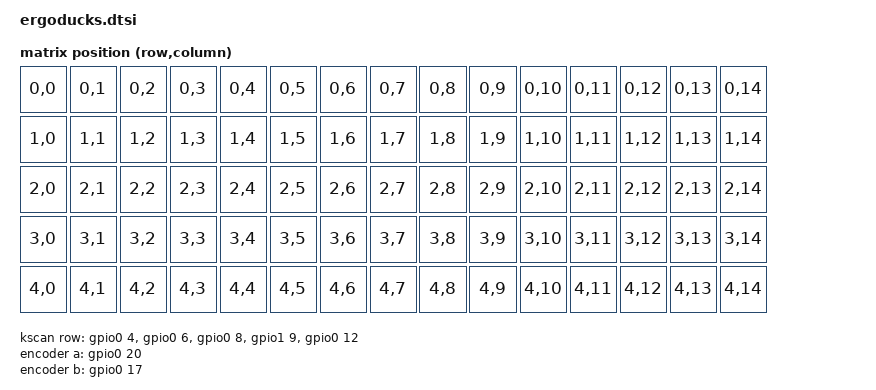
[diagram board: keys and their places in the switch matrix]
// See https://zmk.dev/docs/development/hardware-integration/physical-layouts
// for how to configure this.

#include <dt-bindings/zmk/matrix_transform.h>
#include <dt-bindings/zmk/pointing.h>
#include <zephyr/dt-bindings/led/led.h>

#include "ergoducks-layouts.dtsi"

/ {
    chosen {
        zephyr,display = &oled;
        zmk,kscan = &kscan;
        zmk,physical-layout = &ergoducks_layout;
        zmk,underglow = &led_strip;
    };

    kscan: kscan {
        compatible = "zmk,kscan-gpio-matrix";
        wakeup-source;

        diode-direction = "row2col";
        row-gpios
            = <&gpio0 4  GPIO_ACTIVE_HIGH>
            , <&gpio0 6  GPIO_ACTIVE_HIGH>
            , <&gpio0 8  GPIO_ACTIVE_HIGH>
            , <&gpio1 9  GPIO_ACTIVE_HIGH>
            , <&gpio0 12 GPIO_ACTIVE_HIGH>
            ;

    };

    default_transform: keymap_transform_0 {
        compatible = "zmk,matrix-transform";
        columns = <15>;
        rows = <5>;
        map = <
RC(0,0) RC(0,1) RC(0,2) RC(0,3) RC(0,4) RC(0,5) RC(0,6)     RC(0,7) RC(0,8) RC(0,9) RC(0,10) RC(0,11) RC(0,12) RC(0,13) RC(0,14)
RC(1,0) RC(1,1) RC(1,2) RC(1,3) RC(1,4) RC(1,5) RC(1,6)     RC(1,7) RC(1,8) RC(1,9) RC(1,10) RC(1,11) RC(1,12) RC(1,13) RC(1,14)
RC(2,0) RC(2,1) RC(2,2) RC(2,3) RC(2,4) RC(2,5) RC(2,6)     RC(2,7) RC(2,8) RC(2,9) RC(2,10) RC(2,11) RC(2,12) RC(2,13) RC(2,14)
RC(3,0) RC(3,1) RC(3,2) RC(3,3) RC(3,4) RC(3,5) RC(3,6)     RC(3,7) RC(3,8) RC(3,9) RC(3,10) RC(3,11) RC(3,12) RC(3,13) RC(3,14)
RC(4,0) RC(4,1) RC(4,2) RC(4,3) RC(4,4) RC(4,5) RC(4,6)     RC(4,7) RC(4,8) RC(4,9) RC(4,10) RC(4,11) RC(4,12) RC(4,13) RC(4,14)
        >;
    };

    encoder: encoder {
        compatible = "alps,ec11";
        a-gpios = <&gpio0 20 (GPIO_ACTIVE_HIGH | GPIO_PULL_UP)>;
        b-gpios = <&gpio0 17 (GPIO_ACTIVE_HIGH | GPIO_PULL_UP)>;
        steps = <15>;
        status = "okay";
    };

    sensors: sensors {
        compatible = "zmk,keymap-sensors";
        sensors = <&encoder>;
        triggers-per-rotation = <20>;
    };

    behaviors {
        inc_dec_msc: inc_dec_msc {
            compatible = "zmk,behavior-sensor-rotate-var";
            #sensor-binding-cells = <2>;
            bindings = <&msc>, <&msc>;
        };
        inc_dec_mmv: inc_dec_mmv {
            compatible = "zmk,behavior-sensor-rotate-var";
            #sensor-binding-cells = <2>;
            bindings = <&mmv>, <&mmv>;
        };
    };
};

&ergoducks_layout {
    transform = <&default_transform>;
};

&pinctrl {
    i2c0_default: i2c0_default {
        group1 {
            psels = <NRF_PSEL(TWIM_SDA, 0, 13)>,
                    <NRF_PSEL(TWIM_SCL, 0, 15)>;
        };
    };

    i2c0_sleep: i2c0_sleep {
        group1 {
            psels = <NRF_PSEL(TWIM_SDA, 0, 13)>,
                    <NRF_PSEL(TWIM_SCL, 0, 15)>;
            low-power-enable;
        };
    };
    
    spi3_default: spi3_default {
        group1 {
            psels = <NRF_PSEL(SPIM_MOSI, 0, 26)>;
        };
    };

    spi3_sleep: spi3_sleep {
        group1 {
            psels = <NRF_PSEL(SPIM_MOSI, 0, 26)>;
            low-power-enable;
        };
    };
};

&i2c0 {
    status = "okay";
    compatible = "nordic,nrf-twi";
    pinctrl-0 = <&i2c0_default>;
    pinctrl-1 = <&i2c0_sleep>;
    pinctrl-names = "default", "sleep";

    oled: ssd1306@3c {
        compatible = "solomon,ssd1306fb";
        reg = <0x3c>;
        width = <128>;
        height = <32>;
        segment-offset = <0>;
        page-offset = <0>;
        display-offset = <0>;
        multiplex-ratio = <31>;
        segment-remap;
        com-invdir;
        com-sequential;
        inversion-on;
        prechargep = <0x22>;
        ready-time-ms = <500>;
    };
};


&spi3 {
    compatible = "nordic,nrf-spim";
    status = "okay";

    pinctrl-0 = <&spi3_default>;
    pinctrl-1 = <&spi3_sleep>;
    pinctrl-names = "default", "sleep";

    led_strip: ws2812@0 {
        compatible = "worldsemi,ws2812-spi";

        /* SPI */
        reg = <0>; /* ignored, but necessary for SPI bindings */
        spi-max-frequency = <4000000>;

        /* WS2812 */
        chain-length = <10>; /* number of LEDs */
        spi-one-frame = <0x70>;
        spi-zero-frame = <0x40>;
        color-mapping = <LED_COLOR_ID_GREEN
                            LED_COLOR_ID_RED
                            LED_COLOR_ID_BLUE>;
    };
};
